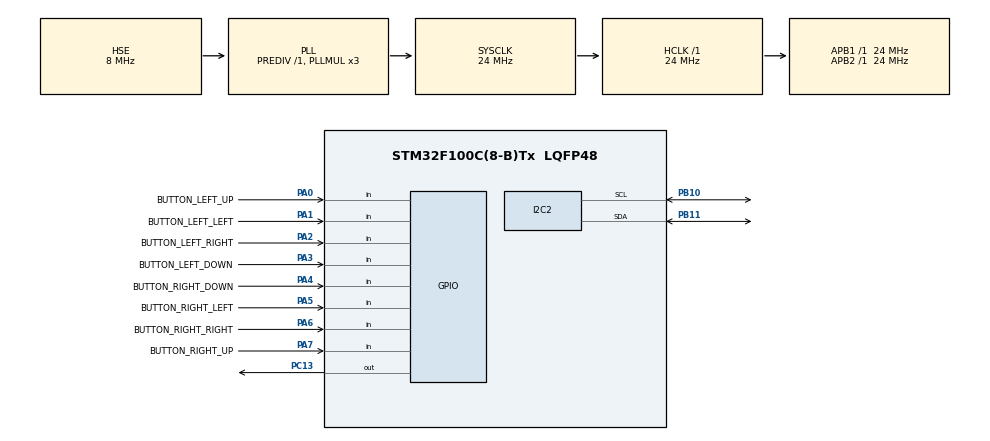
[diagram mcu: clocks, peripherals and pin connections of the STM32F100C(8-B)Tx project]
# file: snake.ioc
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I2C2.I2C_Mode=I2C_Fast
Mcu.Family=STM32F1
Mcu.Name=STM32F100C(8-B)Tx
Mcu.Package=LQFP48
NVIC.PriorityGroup=NVIC_PRIORITYGROUP_4
PA0-WKUP.GPIO_Label=BUTTON_LEFT_UP
PA0-WKUP.GPIO_Mode=GPIO_MODE_INPUT
PA0-WKUP.GPIO_PuPd=GPIO_PULLUP
PA0-WKUP.Signal=GPIO_Input
PA1.GPIO_Label=BUTTON_LEFT_LEFT
PA1.GPIO_Mode=GPIO_MODE_INPUT
PA1.GPIO_PuPd=GPIO_PULLUP
PA1.Signal=GPIO_Input
PA13.Mode=Serial_Wire
PA13.Signal=SYS_JTMS-SWDIO
PA14.Mode=Serial_Wire
PA14.Signal=SYS_JTCK-SWCLK
PA2.GPIO_Label=BUTTON_LEFT_RIGHT
PA2.GPIO_Mode=GPIO_MODE_INPUT
PA2.GPIO_PuPd=GPIO_PULLUP
PA2.Signal=GPIO_Input
PA3.GPIO_Label=BUTTON_LEFT_DOWN
PA3.GPIO_Mode=GPIO_MODE_INPUT
PA3.GPIO_PuPd=GPIO_PULLUP
PA3.Signal=GPIO_Input
PA4.GPIO_Label=BUTTON_RIGHT_DOWN
PA4.GPIO_Mode=GPIO_MODE_INPUT
PA4.GPIO_PuPd=GPIO_PULLUP
PA4.Signal=GPIO_Input
PA5.GPIO_Label=BUTTON_RIGHT_LEFT
PA5.GPIO_Mode=GPIO_MODE_INPUT
PA5.GPIO_PuPd=GPIO_PULLUP
PA5.Signal=GPIO_Input
PA6.GPIO_Label=BUTTON_RIGHT_RIGHT
PA6.GPIO_Mode=GPIO_MODE_INPUT
PA6.GPIO_PuPd=GPIO_PULLUP
PA6.Signal=GPIO_Input
PA7.GPIO_Label=BUTTON_RIGHT_UP
PA7.GPIO_Mode=GPIO_MODE_INPUT
PA7.GPIO_PuPd=GPIO_PULLUP
PA7.Signal=GPIO_Input
PB10.Mode=I2C
PB10.Signal=I2C2_SCL
PB11.Mode=I2C
PB11.Signal=I2C2_SDA
PC13-TAMPER-RTC.GPIO_Speed=GPIO_SPEED_FREQ_HIGH
PC13-TAMPER-RTC.Signal=GPIO_Output
PD0-OSC_IN.Mode=HSE-External-Oscillator
PD0-OSC_IN.Signal=RCC_OSC_IN
PD1-OSC_OUT.Mode=HSE-External-Oscillator
PD1-OSC_OUT.Signal=RCC_OSC_OUT
ProjectManager.HeapSize=0x200
ProjectManager.StackSize=0x400
ProjectManager.TargetToolchain=STM32CubeIDE
RCC.AHBFreq_Value=24000000
RCC.APB1Freq_Value=24000000
RCC.APB1TimFreq_Value=24000000
RCC.APB2Freq_Value=24000000
RCC.APB2TimFreq_Value=24000000
RCC.HCLKFreq_Value=24000000
RCC.PLLMUL=RCC_PLL_MUL3
RCC.PLLSource=RCC_PLLSOURCE_HSE
RCC.SYSCLKFreq_VALUE=24000000
RCC.SYSCLKSource=RCC_SYSCLKSOURCE_PLLCLK
board=custom

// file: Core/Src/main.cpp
/* USER CODE BEGIN Header */
/**
  ******************************************************************************
  * @file           : main.c
  * @brief          : Main program body
  ******************************************************************************
  * @attention
  *
  * <h2><center>&copy; Copyright (c) 2020 STMicroelectronics.
  * All rights reserved.</center></h2>
  *
  * This software component is licensed by ST under BSD 3-Clause license,
  * the "License"; You may not use this file except in compliance with the
  * License. You may obtain a copy of the License at:
  *                        opensource.org/licenses/BSD-3-Clause
  *
  ******************************************************************************
  */
/* USER CODE END Header */

#include "main.h"

/* USER CODE BEGIN Includes */
#include "STM32_sh1106_oled.h"
#include "fonts.h"
/* USER CODE END Includes */

I2C_HandleTypeDef hi2c2;

/* USER CODE BEGIN PV */
int Last_Input_Key = 14 ;
/* USER CODE END PV */

void SystemClock_Config(void);
static void MX_GPIO_Init(void);
static void MX_I2C2_Init(void);
/* USER CODE BEGIN PFP */

void SH1106GotoXY(int _x, int _y){
	int x = _x*6 ;
	int y = _y*8 ;
	if(x <= 0) x = 1 ;
	if(y <= 0) y = 1 ;
	SH1106_GotoXY(x, y) ;
}

class Point {
private:
	int x, y;
public:
	Point();

	Point(int x, int y);

	void SetPoint(int x, int y);

	int GetX();

	int GetY();

	void MoveUp();

	void MoveDown();

	void MoveLeft();

	void MoveRight();

	void Draw();

	void Erase();

	void CopyPos(Point* p);

	int IsEqual(Point* p);

	void Debug();
};

class Snake {
private:
	Point* cell[MAX_SNAKE_SIZE];  // array of points
	int size;
	int dir; // current direction of snake
	Point fruit;
	int state; // bool show state of snake i.e. living or dead
	int started;
public:
	Snake();

	void AddCell(int x, int y);

	void TurnUp();

	void TurnDown();

	void TurnLeft();

	void TurnRight();

	void WelcomeScreen();

	void Move();

	int SelfCollision();

	void Debug();
};

Point::Point(){
		x = y = 10;
	}

Point::Point(int x, int y) {
		this->x = x;
		this->y = y;
	}

void Point::SetPoint(int x, int y) {
		this->x = x;
		this->y = y;
	}

int Point::GetX() {
		return x;
	}

int Point::GetY() {
		return y;
	}

void Point::MoveUp() {
		y--;
		if (y < 0) y = MAX_FRAME_Y;
	}

void Point::MoveDown() {
		y++;
		if (y > MAX_FRAME_Y) y = 0;
	}

void Point::MoveLeft() {
		x--;
		if (x < 0) x = MAX_FRAME_X;
	}

void Point::MoveRight() {
		x++;
		if (x > MAX_FRAME_X) x = 0;
	}

void Point::Draw() {
		char Shape = 'o';
		SH1106GotoXY(x, y);
		SH1106_Putc ((char)Shape, &Font_5x7, SH1106_COLOR_WHITE);
		SH1106_UpdateScreen(); //display
	}

void Point::Erase() {
		SH1106GotoXY(x, y);
		SH1106_Putc ((char)' ', &Font_5x7, SH1106_COLOR_WHITE);
		SH1106_UpdateScreen(); //display
	}

void Point::CopyPos(Point* p) {
		p->x = x;
		p->y = y;
	}

int Point::IsEqual(Point* p) {
		if (p->x == x && p->y == y) return 1;
		return 0;
	}

void Point::Debug() {
//		cout << "(" << x << "," << y << ") ";
//		SH1106_Puts ((char*)' ', &Font_5x7, 1);
	}

Snake::Snake() {
		size = 1; // default size
		cell[0] = new Point(0, 0); // default position at
		for (int i = 1; i < MAX_SNAKE_SIZE; i++) {
			cell[i] = NULL;
		}
		fruit.SetPoint(rand() % MAX_FRAME_X, rand() % MAX_FRAME_Y);
		state = 0;
		started = 0;
	}

void Snake::AddCell(int x, int y) {
		cell[size++] = new Point(x, y);
	}

void Snake::TurnUp() {
		if(dir != Key_Left_Down)
		dir = Key_Left_Up;
	}

void Snake::TurnDown() {
		if (dir != Key_Left_Up)
		dir = Key_Left_Down;
	}

void Snake::TurnLeft() {
		if (dir != Key_Left_Right)
		dir = Key_Left_Left;
	}

void Snake::TurnRight() {
		if (dir != Key_Left_Left)
		dir = Key_Left_Right;
	}

void Snake::WelcomeScreen() {
		SH1106GotoXY(4, 0) ;
		SH1106_Puts((char*)"| SNAKE GAME |", &Font_5x7, SH1106_COLOR_WHITE) ;
		SH1106GotoXY(4, 1) ;
		SH1106_Puts((char*)"-------------", &Font_5x7, SH1106_COLOR_WHITE) ;
		SH1106_UpdateScreen(); //display
	}

void Snake::Move() {
//		SH1106_Clear();
		if (state == 0) {
			if (!started) {
				SH1106_Clear();
				WelcomeScreen();
				SH1106GotoXY(3, 3) ;
				SH1106_Puts((char*)"PRESS OK TO START ", &Font_5x7, SH1106_COLOR_WHITE) ;
				SH1106_UpdateScreen(); //display
				while(1){
					if(HAL_GPIO_ReadPin(BUTTON_RIGHT_LEFT_GPIO_Port, BUTTON_RIGHT_LEFT_Pin) == 0){
						HAL_Delay(200) ;
						SH1106_Clear();
						break;
					}
				}
				started = 1;
				state = 1;
				size = 1;
			}
			else {
				SH1106_Clear();
				SH1106GotoXY(6, 2) ;
				SH1106_Puts((char*)" GAME OVER", &Font_5x7, SH1106_COLOR_WHITE) ;
				SH1106GotoXY(2, 4) ;
				SH1106_Puts((char*)"PRESS OK TO RESTART ", &Font_5x7, SH1106_COLOR_WHITE) ;
				SH1106_UpdateScreen(); //display
				while(1){
					if(HAL_GPIO_ReadPin(BUTTON_RIGHT_LEFT_GPIO_Port, BUTTON_RIGHT_LEFT_Pin) == 0){
						HAL_Delay(200) ;
						SH1106_Clear();
						break;
					}
				}
				state = 1;
				size = 1;
			}
		}

		// making snake body folow its head
		for (int i = size - 1; i > 0; i--) {
			cell[i-1]->CopyPos(cell[i]);
 		}

		// turning snake's head
		switch (dir){
		case Key_Left_Up :
			cell[0] -> MoveUp();
			break;
		case Key_Left_Down :
			cell[0]->MoveDown();
			break;
		case Key_Left_Left:
			cell[0]-> MoveLeft();
			break;
		case Key_Left_Right:
			cell[0]->MoveRight();
			break;
		}

		if (SelfCollision()) state = 0;

		if (fruit.GetX() == cell[0]->GetX() && fruit.GetY() == cell[0]->GetY()) {
			AddCell(0, 0);
			fruit.SetPoint(rand() % MAX_FRAME_X, rand() % MAX_FRAME_Y);
		}

		// Toan da chinh sua doan code nay : ( muc dich trach oled in lai toan bo than ran -> mat thoi gian hien thi)
//		for (int i = 0; i < size; i++) {
//			cell[i]->Draw();
//		}
		cell[0] -> Draw() ;    // Toan giai quyet
		cell[size-1] ->Erase() ;
		// ---- xong -----

		fruit.Draw();
		//Debug();
		SH1106_UpdateScreen(); //display
		HAL_Delay((int)(10/size)) ;
	}

int Snake::SelfCollision() {
		for (int i = 1; i < size; i++)
			if (cell[0]->IsEqual(cell[i])) return 1;
		return 0;

	}

void Snake::Debug() {
		for (int i = 0; i < size; i++) {
			cell[i]->Debug();
		}
	}

int InputKey(){
	int Input_Key ;
	if ( Last_Input_Key == Key_Right_Up){
		Input_Key = Key_Left_Right ;
		Last_Input_Key = Key_Left_Right ;
	}
	Input_Key = Last_Input_Key;
	if(HAL_GPIO_ReadPin(BUTTON_LEFT_UP_GPIO_Port, BUTTON_LEFT_UP_Pin) == 0){
	  Input_Key = Key_Left_Up ;
	  Last_Input_Key = Key_Left_Up ;
	}else if (HAL_GPIO_ReadPin(BUTTON_LEFT_DOWN_GPIO_Port, BUTTON_LEFT_DOWN_Pin) == 0){
	  Input_Key = Key_Left_Down ;
	  Last_Input_Key = Key_Left_Down ;
	}else if (HAL_GPIO_ReadPin(BUTTON_LEFT_LEFT_GPIO_Port, BUTTON_LEFT_LEFT_Pin) == 0){
	  Input_Key = Key_Left_Left ;
	  Last_Input_Key = Key_Left_Left ;
	}else if (HAL_GPIO_ReadPin(BUTTON_LEFT_RIGHT_GPIO_Port, BUTTON_LEFT_RIGHT_Pin) == 0){
	  Input_Key = Key_Left_Right ;
	  Last_Input_Key = Key_Left_Right ;
	}else if (HAL_GPIO_ReadPin(BUTTON_RIGHT_UP_GPIO_Port, BUTTON_RIGHT_UP_Pin) == 0){
	  Input_Key = Key_Right_Up ;
	  Last_Input_Key = Key_Right_Up ;
	}else if (HAL_GPIO_ReadPin(BUTTON_RIGHT_DOWN_GPIO_Port, BUTTON_RIGHT_DOWN_Pin) == 0){
	  Input_Key = Key_Right_Down ;
	  Last_Input_Key = Key_Right_Down ;
	}else if (HAL_GPIO_ReadPin(BUTTON_RIGHT_LEFT_GPIO_Port, BUTTON_RIGHT_LEFT_Pin) == 0){
	  Input_Key = Key_Right_Left ;
	  Last_Input_Key = Key_Right_Left ;
	}else if (HAL_GPIO_ReadPin(BUTTON_RIGHT_RIGHT_GPIO_Port, BUTTON_RIGHT_RIGHT_Pin) == 0){
	  Input_Key = Key_Right_Right ;
	  Last_Input_Key = Key_Right_Right ;
	}
	return Input_Key ;
}

void SnakeMainControl(){
	// random no generation
	srand((unsigned)time(NULL));

	Snake snake;
	int op = Key_Left_Right;
	do {
		op = InputKey();
		switch (op) {
			case Key_Left_Up:
				snake.TurnUp();
				break;
			case Key_Left_Down:
				snake.TurnDown();
				break;
			case Key_Left_Left:
				snake.TurnLeft();
				break;
			case Key_Left_Right:
				snake.TurnRight();
				break;
		}
		snake.Move();
	} while (op != Key_Right_Up );

}

void SH1106TestButton(){
	if(HAL_GPIO_ReadPin(GPIOA, GPIO_PIN_4) == 0){
	  SH1106GotoXY (0,0);
	  SH1106_Puts ((char*)"A4", &Font_5x7, SH1106_COLOR_WHITE);
	  SH1106_UpdateScreen();
	}
	else if(HAL_GPIO_ReadPin(GPIOA, GPIO_PIN_5) == 0){
	  SH1106GotoXY (0,0);
	  SH1106_Puts ((char*)"A5", &Font_5x7, SH1106_COLOR_WHITE);
	  SH1106_UpdateScreen();
	}
	else if(HAL_GPIO_ReadPin(GPIOA, GPIO_PIN_6) == 0){
	  SH1106GotoXY (0,0);
	  SH1106_Puts ((char*)"A6", &Font_5x7, SH1106_COLOR_WHITE);
	  SH1106_UpdateScreen();
	}
	else if(HAL_GPIO_ReadPin(GPIOA, GPIO_PIN_7) == 0){
	  SH1106GotoXY (0,0);
	  SH1106_Puts ((char*)"A7", &Font_5x7, SH1106_COLOR_WHITE);
	  SH1106_UpdateScreen();
	}
	else if(HAL_GPIO_ReadPin(GPIOA, GPIO_PIN_0) == 0){
	  SH1106GotoXY (0,0);
	  SH1106_Puts ((char*)"A0", &Font_5x7, SH1106_COLOR_WHITE);
	  SH1106_UpdateScreen();
	}
	else if(HAL_GPIO_ReadPin(GPIOA, GPIO_PIN_1) == 0){
	  SH1106GotoXY (0,0);
	  SH1106_Puts ((char*)"A1", &Font_5x7, SH1106_COLOR_WHITE);
	  SH1106_UpdateScreen();
	}
	else if(HAL_GPIO_ReadPin(GPIOA, GPIO_PIN_2) == 0){
	  SH1106GotoXY (0,0);
	  SH1106_Puts ((char*)"A2", &Font_5x7, SH1106_COLOR_WHITE);
	  SH1106_UpdateScreen();
	}
	else if(HAL_GPIO_ReadPin(GPIOA, GPIO_PIN_3) == 0){
	  SH1106GotoXY (0,0);
	  SH1106_Puts ((char*)"A3", &Font_5x7, SH1106_COLOR_WHITE);
	  SH1106_UpdateScreen();
	}
}
/* USER CODE END PFP */

int main(void)
{

  /* MCU Configuration------------------------------------`--------------------*/

  /* Reset of all peripherals, Initializes the Flash interface and the Systick. */
  HAL_Init();

  /* Configure the system clock */
  SystemClock_Config();

  /* Initialize all configured peripherals */
  MX_GPIO_Init();
  MX_I2C2_Init();
  /* USER CODE BEGIN 2 */
  SH1106_Init();
  HAL_Delay(1000) ;
  SH1106_Clear() ;
  /* USER CODE END 2 */

  /* Infinite loop */
  /* USER CODE BEGIN WHILE */
	  SH1106_Init();  // initialise

	  SH1106_Clear() ;
	  SH1106GotoXY (0,0);
	  SH1106_Puts ((char*)"        Hi world !", &Font_5x7, SH1106_COLOR_WHITE);
	  SH1106GotoXY (0,1);
	  SH1106_Puts ((char*)" ", &Font_5x7, SH1106_COLOR_WHITE);
	  SH1106GotoXY (0,2);
	  SH1106_Puts ((char*)"This game project was", &Font_5x7, SH1106_COLOR_WHITE);
	  SH1106GotoXY (0,3);
	  SH1106_Puts ((char*)"developed by Toan Dep", &Font_5x7, SH1106_COLOR_WHITE);
	  SH1106GotoXY (0,4);
	  SH1106_Puts ((char*)"Chai, using STM32 MCU ", &Font_5x7, SH1106_COLOR_WHITE);
	  SH1106GotoXY (0,5);
	  SH1106_Puts ((char*)"and Oled Display.", &Font_5x7, SH1106_COLOR_WHITE);
	  SH1106GotoXY (0,6);
	  SH1106_Puts ((char*)"----------------------", &Font_5x7, SH1106_COLOR_WHITE);
	  SH1106_UpdateScreen(); //display
	  HAL_Delay(3000) ;

	  char C = 0 ;
	  while(1){
		  if(HAL_GPIO_ReadPin(BUTTON_RIGHT_LEFT_GPIO_Port, BUTTON_RIGHT_LEFT_Pin) == 0){
			  HAL_Delay(200) ;
			  SH1106_Clear();
			  break;
		  }
	  }
  while (1)
  {
    /* USER CODE END WHILE */

    /* USER CODE BEGIN 3 */
	  HAL_GPIO_TogglePin(GPIOC, GPIO_PIN_13) ;
	  HAL_Delay(100) ;
	  SnakeMainControl();
//	  if(HAL_GPIO_ReadPin(BUTTON_RIGHT_DOWN_GPIO_Port, BUTTON_RIGHT_DOWN_Pin) == 0){
//		  HAL_Delay(100);
//		  SH1106GotoXY (5,5);
//		  SH1106_Putc ((char)C, &Font_5x7, SH1106_COLOR_WHITE);
//		  C = C + 1 ;
//		  if( C >= 255) C = 0 ;
//		  SH1106_UpdateScreen(); //display
//	  }

  }
  /* USER CODE END 3 */
}

void SystemClock_Config(void)
{
  RCC_OscInitTypeDef RCC_OscInitStruct = {0};
  RCC_ClkInitTypeDef RCC_ClkInitStruct = {0};

  /** Initializes the CPU, AHB and APB busses clocks
  */
  RCC_OscInitStruct.OscillatorType = RCC_OSCILLATORTYPE_HSE;
  RCC_OscInitStruct.HSEState = RCC_HSE_ON;
  RCC_OscInitStruct.HSEPredivValue = RCC_HSE_PREDIV_DIV1;
  RCC_OscInitStruct.PLL.PLLState = RCC_PLL_ON;
  RCC_OscInitStruct.PLL.PLLSource = RCC_PLLSOURCE_HSE;
  RCC_OscInitStruct.PLL.PLLMUL = RCC_PLL_MUL3;
  if (HAL_RCC_OscConfig(&RCC_OscInitStruct) != HAL_OK)
  {
    Error_Handler();
  }
  /** Initializes the CPU, AHB and APB busses clocks
  */
  RCC_ClkInitStruct.ClockType = RCC_CLOCKTYPE_HCLK|RCC_CLOCKTYPE_SYSCLK
                              |RCC_CLOCKTYPE_PCLK1|RCC_CLOCKTYPE_PCLK2;
  RCC_ClkInitStruct.SYSCLKSource = RCC_SYSCLKSOURCE_PLLCLK;
  RCC_ClkInitStruct.AHBCLKDivider = RCC_SYSCLK_DIV1;
  RCC_ClkInitStruct.APB1CLKDivider = RCC_HCLK_DIV1;
  RCC_ClkInitStruct.APB2CLKDivider = RCC_HCLK_DIV1;

  if (HAL_RCC_ClockConfig(&RCC_ClkInitStruct, FLASH_LATENCY_0) != HAL_OK)
  {
    Error_Handler();
  }
}

static void MX_I2C2_Init(void)
{

  hi2c2.Instance = I2C2;
  hi2c2.Init.ClockSpeed = 400000;
  hi2c2.Init.DutyCycle = I2C_DUTYCYCLE_2;
  hi2c2.Init.OwnAddress1 = 0;
  hi2c2.Init.AddressingMode = I2C_ADDRESSINGMODE_7BIT;
  hi2c2.Init.DualAddressMode = I2C_DUALADDRESS_DISABLE;
  hi2c2.Init.OwnAddress2 = 0;
  hi2c2.Init.GeneralCallMode = I2C_GENERALCALL_DISABLE;
  hi2c2.Init.NoStretchMode = I2C_NOSTRETCH_DISABLE;
  if (HAL_I2C_Init(&hi2c2) != HAL_OK)
  {
    Error_Handler();
  }

}

static void MX_GPIO_Init(void)
{
  GPIO_InitTypeDef GPIO_InitStruct = {0};

  /* GPIO Ports Clock Enable */
  __HAL_RCC_GPIOC_CLK_ENABLE();
  __HAL_RCC_GPIOD_CLK_ENABLE();
  __HAL_RCC_GPIOA_CLK_ENABLE();
  __HAL_RCC_GPIOB_CLK_ENABLE();

  /*Configure GPIO pin Output Level */
  HAL_GPIO_WritePin(GPIOC, GPIO_PIN_13, GPIO_PIN_RESET);

  /*Configure GPIO pin : PC13 */
  GPIO_InitStruct.Pin = GPIO_PIN_13;
  GPIO_InitStruct.Mode = GPIO_MODE_OUTPUT_PP;
  GPIO_InitStruct.Pull = GPIO_NOPULL;
  GPIO_InitStruct.Speed = GPIO_SPEED_FREQ_HIGH;
  HAL_GPIO_Init(GPIOC, &GPIO_InitStruct);

  /*Configure GPIO pins : BUTTON_LEFT_UP_Pin BUTTON_LEFT_LEFT_Pin BUTTON_LEFT_RIGHT_Pin BUTTON_LEFT_DOWN_Pin
                           BUTTON_RIGHT_DOWN_Pin BUTTON_RIGHT_LEFT_Pin BUTTON_RIGHT_RIGHT_Pin BUTTON_RIGHT_UP_Pin */
  GPIO_InitStruct.Pin = BUTTON_LEFT_UP_Pin|BUTTON_LEFT_LEFT_Pin|BUTTON_LEFT_RIGHT_Pin|BUTTON_LEFT_DOWN_Pin
                          |BUTTON_RIGHT_DOWN_Pin|BUTTON_RIGHT_LEFT_Pin|BUTTON_RIGHT_RIGHT_Pin|BUTTON_RIGHT_UP_Pin;
  GPIO_InitStruct.Mode = GPIO_MODE_INPUT;
  GPIO_InitStruct.Pull = GPIO_PULLUP;
  HAL_GPIO_Init(GPIOA, &GPIO_InitStruct);

}

void Error_Handler(void)
{
}

/************************ (C) COPYRIGHT STMicroelectronics *****END OF FILE****/
